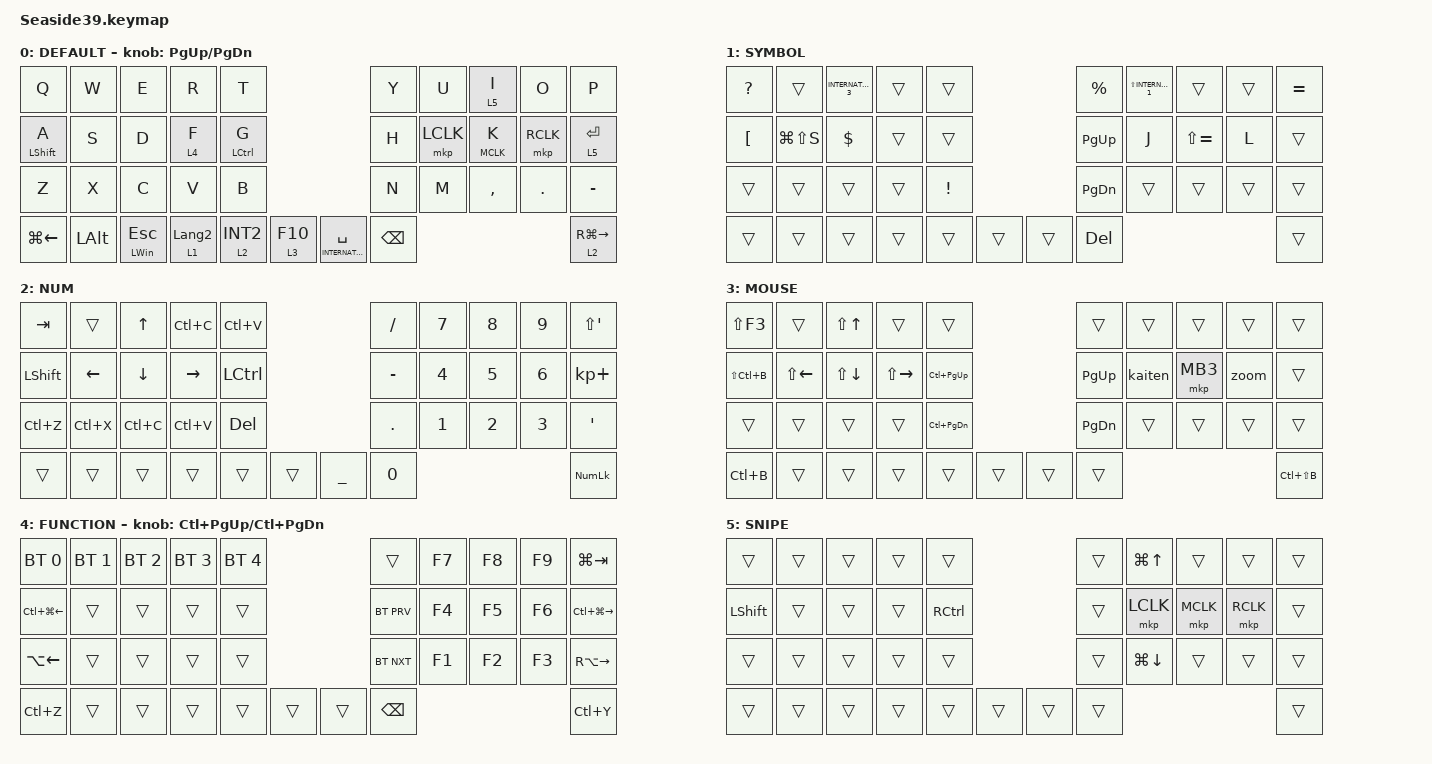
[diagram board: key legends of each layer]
#include <behaviors.dtsi>
#include <dt-bindings/zmk/bt.h>
#include <dt-bindings/zmk/keys.h>
#include <dt-bindings/zmk/pointing.h>

// 参照スナップショット: hoch1122/zmk-config-Seaside39 の config/Seaside39.keymap
// （skinner39.keymap 合わせ込みの元。skinner39 では sensor-bindings を除外している点に注意）

#define MOUSE 4
#define SCROLL 5
#define NUM 6

&mt {
    flavor = "balanced";
    quick-tap-ms = <300>;
    require-prior-idle-ms = <150>;
    hold-trigger-on-release;
};

&lt {
    flavor = "balanced";
    quick-tap-ms = <300>;
    require-prior-idle-ms = <150>;
};

/ {
    combos {
        compatible = "zmk,combos";

        aa {
            bindings = <&bt BT_CLR>;
            key-positions = <29 20>;
            layers = <4>;
            timeout-ms = <50>;
            require-prior-idle-ms = <500>;
        };

        ss {
            bindings = <&bootloader>;
            key-positions = <9 19 38>;
            timeout-ms = <50>;
            require-prior-idle-ms = <500>;
        };

        sr {
            bindings = <&bootloader>;
            key-positions = <0 10 30>;
            timeout-ms = <50>;
            require-prior-idle-ms = <500>;
        };

        winlock {
            bindings = <&kp LG(L)>;
            key-positions = <32 18>;
            timeout-ms = <50>;
            require-prior-idle-ms = <200>;
        };
    };

    macros {
        to_layer_0: to_layer_0 {
            compatible = "zmk,behavior-macro-one-param";
            #binding-cells = <1>;
            bindings =
                <&to 0 &macro_param_1to1 &kp MACRO_PLACEHOLDER>,
                <&macro_press>;

            label = "TO_LAYER_0";
        };

        kaiten: new_macro {
            compatible = "zmk,behavior-macro";
            #binding-cells = <0>;
            bindings =
                <&macro_press>,
                <&mkp MCLK>,
                <&macro_wait_time 200>,
                <&mkp RCLK>,
                <&macro_pause_for_release>,
                <&macro_release>,
                <&mkp MCLK &mkp RCLK>;

            label = "NEW_MACRO";
        };

        zoom: zoom {
            compatible = "zmk,behavior-macro";
            #binding-cells = <0>;
            bindings =
                <&macro_press>,
                <&mkp MCLK>,
                <&macro_wait_time 100>,
                <&mkp RCLK>,
                <&macro_release>,
                <&mkp RCLK>,
                <&macro_pause_for_release>,
                <&macro_release>,
                <&mkp MCLK>;

            label = "ZOOM";
        };
    };

    behaviors {
        lt_to_layer_0: lt_to_layer_0 {
            compatible = "zmk,behavior-hold-tap";
            label = "LAYER_TAP_TO_0";
            bindings = <&mo>, <&to_layer_0>;

            #binding-cells = <2>;
            tapping-term-ms = <200>;
        };

        holdmkp: holdmkp {
            compatible = "zmk,behavior-hold-tap";
            label = "HOLDMKP";
            bindings = <&mkp>, <&kp>;

            #binding-cells = <2>;
            tapping-term-ms = <150>;
            flavor = "balanced";
        };
    };

    keymap {
        compatible = "zmk,keymap";

        DEFAULT {
            bindings = <
&kp Q               &kp W     &kp E                &kp R             &kp T                                                         &kp Y          &kp U      &lt 5 I          &kp O       &kp P
&mt LEFT_SHIFT A    &kp S     &kp D                &lt 4 F           &mt LEFT_CONTROL G                                            &kp H          &mkp LCLK  &holdmkp MCLK K  &mkp RCLK   &lt 5 ENTER
&kp Z               &kp X     &kp C                &kp V             &kp B                                                         &kp N          &kp M      &kp COMMA        &kp PERIOD  &kp MINUS
&kp LG(LEFT_ARROW)  &kp LALT  &mt LEFT_WIN ESCAPE  &lt 1 LANGUAGE_2  &lt 2 INT2          &lt 3 F10      &mt INTERNATIONAL_4 SPACE  &kp BACKSPACE                                          &lt_to_layer_0 2 RG(RIGHT)
            >;

            sensor-bindings = <&inc_dec_kp PG_UP PAGE_DOWN>;
        };

        SYMBOL {
            bindings = <
&kp QUESTION      &trans         &kp INTERNATIONAL_3  &trans  &trans                               &kp PERCENT    &kp LS(INTERNATIONAL_1)  &trans         &trans  &kp EQUAL
&kp LEFT_BRACKET  &kp LG(LS(S))  &kp DOLLAR           &trans  &trans                               &kp PAGE_UP    &kp J                    &kp LS(EQUAL)  &kp L   &trans
&trans            &trans         &trans               &trans  &kp EXCLAMATION                      &kp PAGE_DOWN  &trans                   &trans         &trans  &trans
&trans            &trans         &trans               &trans  &trans           &trans      &trans  &kp DELETE                                                     &trans
            >;
        };

        NUM {
            bindings = <
&kp TAB         &trans          &kp UP_ARROW  &kp LC(C)  &kp LC(V)                                &kp SLASH     &kp N7        &kp NUMBER_8  &kp N9        &kp LS(APOS)
&kp LEFT_SHIFT  &kp LEFT_ARROW  &kp DOWN      &kp RIGHT  &kp LEFT_CONTROL                         &kp MINUS     &kp NUMBER_4  &kp N5        &kp NUMBER_6  &kp KP_PLUS
&kp LC(Z)       &kp LC(X)       &kp LC(C)     &kp LC(V)  &kp DELETE                               &kp PERIOD    &kp NUMBER_1  &kp NUMBER_2  &kp NUMBER_3  &kp APOS
&trans          &trans          &trans        &trans     &trans            &trans      &kp UNDER  &kp NUMBER_0                                            &kp KP_NUM
            >;
        };

        MOUSE {
            bindings = <
&kp LS(F3)     &trans              &kp LS(UP_ARROW)  &trans         &trans                                 &trans         &trans   &trans    &trans  &trans
&kp LS(LC(B))  &kp LS(LEFT_ARROW)  &kp LS(DOWN)      &kp LS(RIGHT)  &kp LC(PG_UP)                          &kp PAGE_UP    &kaiten  &mkp MB3  &zoom   &trans
&trans         &trans              &trans            &trans         &kp LC(PAGE_DOWN)                      &kp PAGE_DOWN  &trans   &trans    &trans  &trans
&kp LC(B)      &trans              &trans            &trans         &trans             &trans      &trans  &trans                                    &kp LC(LS(B))
            >;
        };

        FUNCTION {
            bindings = <
&bt BT_SEL 0        &bt BT_SEL 1  &bt BT_SEL 2  &bt BT_SEL 3  &bt BT_SEL 4                      &trans         &kp F7  &kp F8  &kp F9  &kp LG(TAB)
&kp LC(LG(LEFT))    &trans        &trans        &trans        &trans                            &bt BT_PRV     &kp F4  &kp F5  &kp F6  &kp LC(LG(RIGHT))
&kp LA(LEFT_ARROW)  &trans        &trans        &trans        &trans                            &bt BT_NXT     &kp F1  &kp F2  &kp F3  &kp RA(RIGHT)
&kp LC(Z)           &trans        &trans        &trans        &trans        &trans      &trans  &kp BACKSPACE                          &kp LC(Y)
            >;

            sensor-bindings = <&inc_dec_kp LC(PAGE_UP) LC(PAGE_DOWN)>;
        };

        SNIPE {
            bindings = <
&trans          &trans  &trans  &trans  &trans                                 &trans  &kp LG(UP_ARROW)  &trans     &trans     &trans
&kp LEFT_SHIFT  &trans  &trans  &trans  &kp RIGHT_CONTROL                      &trans  &mkp LCLK         &mkp MCLK  &mkp RCLK  &trans
&trans          &trans  &trans  &trans  &trans                                 &trans  &kp LG(DOWN)      &trans     &trans     &trans
&trans          &trans  &trans  &trans  &trans             &trans      &trans  &trans                                          &trans
            >;
        };
    };
};
